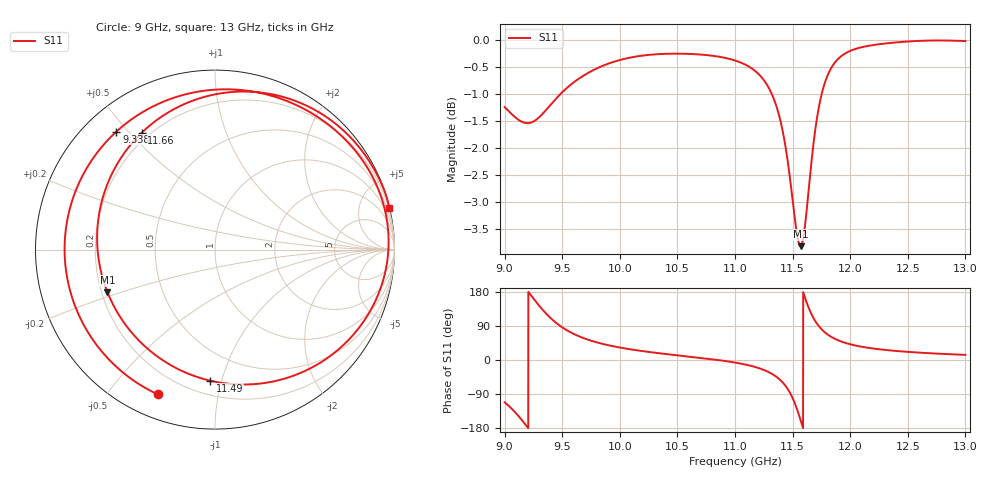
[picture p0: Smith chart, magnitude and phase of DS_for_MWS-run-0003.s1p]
! TOUCHSTONE file generated by CST DESIGN STUDIO
! Date and time: Tue Feb  4 12:43:37 2025
! Project name: C:\Work\MatlabApps\UnitCellOptimizationMatlab\CST\unitcell.cst
! Tree item: Tasks\Sweep1\SPara1\S-Parameters
! Header version: 2024
! Port assignment regex: !\s*Touchstone port\s*([0-9]+)\s*=\s*(CST MWS port|CST DES external port|CST DES block port)\s*(.+)\s* \(\"(.*)\"\)(\s*mode\s*([0-9]+))?.*
! Touchstone port assignment:
! Touchstone port 1 = CST DES external port 1 ("")
# GHz S MA R 50
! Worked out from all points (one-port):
!   4001 points, 9 GHz to 13 GHz, reference 50 ohm
!   lowest |S11| = -3.8 dB at 11.57 GHz (marker M1), VSWR 4.62, Z = 11.2 - j9.09 ohm
!   |S11| at or under -10 dB: nowhere
!   S11 on the Smith chart (normalised r, x): 9 GHz: 0.10, -0.67; 9.338 GHz: 0.09, +0.46; 11.49 GHz: 0.29, -0.92; 11.66 GHz: 0.17, +0.54; 13 GHz: 0.05, +8.40
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9  0.8673 -111.6
9.091  0.8487 -137.8
9.189  0.8381 -173.5
9.258  0.8418 159.3
9.338  0.8568 129.9
9.413  0.875 106.9
9.5  0.8951 86.2
9.599  0.9141 68.9
9.71  0.9309 55.1
10  0.9589 32.9
10.5  0.972 12.3
11  0.958 -6.7
11.192  0.9333 -20.0
11.318  0.8926 -36.1
11.409  0.8288 -57.7
11.487  0.7307 -92.1
11.5  0.7113 -100.3
11.534  0.6653 -126.1
11.569  0.6444 -158.4
11.612  0.6794 160.6
11.662  0.7683 122.1
11.722  0.86 91.6
11.809  0.9307 66.3
11.893  0.9607 52.4
12  0.9778 41.5
12.195  0.9899 30.5
12.5  0.9976 21.5
13  0.9985 13.6
